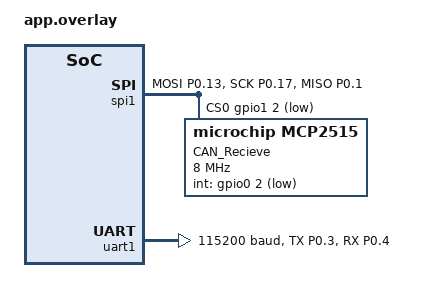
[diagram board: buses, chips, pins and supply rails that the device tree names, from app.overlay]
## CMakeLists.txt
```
cmake_minimum_required(VERSION 3.20.0)
find_package(Zephyr REQUIRED HINTS $ENV{ZEPHYR_BASE})

project(motorkontroller)

target_sources(app PRIVATE src/main.c src/motorstyring.c src/canbus.c vesc_uart.c)
```

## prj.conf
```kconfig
CONFIG_STDOUT_CONSOLE=y
CONFIG_SERIAL=y
CONFIG_UART_CONSOLE=y
CONFIG_UART_ASYNC_API=y
CONFIG_GPIO=y
CONFIG_ADC=y
CONFIG_CAN=y
CONFIG_CAN_MCP2515=y
CONFIG_SPI=y
CONFIG_CONSOLE=y
CONFIG_NEWLIB_LIBC=y
CONFIG_NEWLIB_LIBC_FLOAT_PRINTF=y
```

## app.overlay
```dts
// PWM relatert kode er skrevet av Erik-Andre Hegna
// CANBUS relatert kode er skrevet av Ola Andrup, og er dekt i stor grad i hans del i rapporten.

// Dette er en enhetstre overlay fil. Den brukes for å definere hardware-konfigurasjonen
// til kernelen under "runtime".

&spi1 {
	status = "okay";
	pinctrl-0 = <&spi1_default>;
	pinctrl-names = "default";
	cs-gpios = <&gpio1 2 GPIO_ACTIVE_LOW>;
	mcp2515_can: mcp2515@0 {
		compatible = "microchip,mcp2515";
        spi-max-frequency = <8000000>;
        int-gpios = <&gpio0 2 GPIO_ACTIVE_LOW>;
        status = "okay";
		label = "CAN_Recieve";
		reg = <0x0>;
		osc-freq = <16000000>;
		bus-speed = <125000>;
		sjw = <1>;
		prop-seg = <2>;
		phase-seg1 = <7>;
		phase-seg2 = <6>;
		#address-cells = <1>;
		#size-cells = <0>;

	};

};

//(RAS) legger til UART1 for VESC motorstyring
&uart1 {
    status = "okay";
    current-speed = <115200>;
    pinctrl-0 = <&uart1_default>;
    pinctrl-names = "default";
};

// pinCtrl seksjonen definerer pin konfigurasjonen for de ulike periferene.
// pwmX_default_alt og pwmX_sleep_alt  er ulik konfigurasjoner eller moduser pinen kan ha.
// Den kan enten sove eller være aktiv. 

// For å vite hvilke GPIO port-nummer og PIN nummer i hver GPIO port som tilhører de ulike pinnene
// på microbiten sitt GPIO-brett er tabellen på denne nettsiden brukt:
// https://tech.microbit.org/hardware/edgeconnector/

&pinctrl {
    spi1_default: spi1_default {
		group1 {
			psels = <NRF_PSEL(SPIM_MOSI, 0, 13)>,
					<NRF_PSEL(SPIM_SCK, 0, 17)>,
					<NRF_PSEL(SPIM_MISO, 0, 1)>;
		};
	};
   
    //(ras)
    uart1_default: uart1_default {
        group1 {
            psels = <NRF_PSEL(UART_TX, 0, 3)>, //TX = P3
                    <NRF_PSEL(UART_RX, 0, 4)>; //RX = P4
        };
    };
 };

 //Velger MCP2515 som can-bus for zephyr (fenris2024)
 / {
    chosen {
        zephyr,canbus = &mcp2515_can;
    };
 };
```

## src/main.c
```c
#include <zephyr/kernel.h>
#include <zephyr/drivers/uart.h>
#include <stdio.h>
#include "vesc_uart.h"

int main(void) {
    uart_init();

    const struct device *uart = get_uart_dev();
    if (!uart || !device_is_ready(uart)) {
        printf("UART-enhet ikke klar.\n");
        return -1;
    }

    printf("Starter VESC RPM-kontrollloop...\n");

    while (1) {
        // Send 1500 RPM i 5 sekunder
        printf("Setter RPM til 1500 i 5 sekunder\n");
        for (int i = 0; i < 50; i++) {  // 50 * 100ms = 5 sekunder
            send_set_rpm(5000);
            k_msleep(100);
        }

        // Stopp (RPM = 0) i 2 sekunder
        printf("Stopper motor i 2 sekunder\n");
        for (int i = 0; i < 20; i++) {  // 20 * 100ms = 2 sekunder
            send_set_rpm(0);
            k_msleep(100);
        }
    }

    return 0;
}
```

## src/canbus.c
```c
#define M_PI 3.14159265358979323846
#include <math.h>
#include <stdio.h>
#include <zephyr/sys/byteorder.h>
#include <zephyr/kernel.h>
#include <zephyr/drivers/can.h>
#include <zephyr/drivers/spi.h>
#include <zephyr/drivers/gpio.h>
#include <zephyr/device.h>
#include <stdbool.h>
#include <string.h>

#include "canbus.h"
#include "motorstyring.h"

// Global variabel for siste tidspunkt vi mottok en melding
static int64_t siste_mottatt_tid = 0;

// Meldingskø for CAN-data
K_MSGQ_DEFINE(can_msgq, sizeof(struct can_ret_data), CAN_MSGQ_SIZE, 4);

// Hent CAN-enhet fra devicetree
const struct device *const get_can_dev(void) {
    return DEVICE_DT_GET(DT_CHOSEN(zephyr_canbus));
}

// Initialiserer og starter CAN
void canBegin(const struct device *can_dev) {
    if (!can_dev) {
        printf("Fant ikke CAN-enhet!\n");
        return;
    }

    int ret = can_start(can_dev);
    if (ret != 0) {
        printf("Feil ved oppstart av CAN: %d\n", ret);
        return;
    }

    if (setup_can_filter(can_dev, can_rx_callback, NULL) < 0) {
        printf("Feil: klarte ikke å legge til CAN-filter\n");
        return;
    }

    printf("CAN er startet og filter er satt opp\n");
}

// Returner CAN-state som tekst
const char* can_state_to_str(enum can_state state) {
    switch (state) {
        case CAN_STATE_ERROR_ACTIVE: return "ERROR ACTIVE";
        case CAN_STATE_ERROR_WARNING: return "ERROR WARNING";
        case CAN_STATE_ERROR_PASSIVE: return "ERROR PASSIVE";
        case CAN_STATE_BUS_OFF: return "BUS OFF";
        case CAN_STATE_STOPPED: return "STOPPED";
        default: return "UKJENT";
    }
}

// Skriv ut CAN status
void canState(const struct device *can_dev) {
    enum can_state state;
    struct can_bus_err_cnt err_cnt;

    if (can_get_state(can_dev, &state, &err_cnt) != 0) {
        printf("Kunne ikke hente CAN-status\n");
    } else {
        printf("CAN-status: %s\n", can_state_to_str(state));
        printf("TX-feil: %d, RX-feil: %d\n", err_cnt.tx_err_cnt, err_cnt.rx_err_cnt);
    }
}

// Oppsett av CAN-filter
int setup_can_filter(const struct device *dev, can_rx_callback_t rx_cb, void *cb_data) {
    struct can_filter filter = {
        .flags = CAN_FILTER_DATA | CAN_FILTER_IDE,
        .id = RECEIVE_ID,
        .mask = CAN_EXT_ID_MASK
    };
    return can_add_rx_filter(dev, rx_cb, cb_data, &filter);
}

// Callback når en CAN-melding mottas
void can_rx_callback(const struct device *dev, struct can_frame *frame, void *user_data) {
    // Sjekk at vi faktisk fikk 8 byte som forventet
    if (frame->id == RECEIVE_ID && frame->dlc == 8) {

        siste_mottatt_tid = k_uptime_get();
        //sett_nødstopp(false);  

        // Debug: print rå data
        printf("RÅ CAN-data (hex): ");
        for (int i = 0; i < frame->dlc; i++) {
            printf("%02X ", frame->data[i]);
        }
        printf("\n");

        // Lese inn 4x int16_t fra frame->data, liten endian
        int16_t fart_i      = sys_le16_to_cpu(*(int16_t *)&frame->data[0]);
        int16_t vinkel_i    = sys_le16_to_cpu(*(int16_t *)&frame->data[2]);
        int16_t rotasjon_i  = sys_le16_to_cpu(*(int16_t *)&frame->data[4]);
        int16_t sving_js_i  = sys_le16_to_cpu(*(int16_t *)&frame->data[6]);

        float fart      = fart_i / 100.0f;
        float vinkel    = vinkel_i / 100.0f;
        float rotasjon  = rotasjon_i / 100.0f;
        float sving_js  = sving_js_i / 100.0f;

        printf(".\n");
        printf(".\n");
        printf(".\n");
        printf("[PI → Motor-MB] Mottatt:\n");
        printf("  Fart      : %.2f\n", fart);
        printf("  Vinkel    : %.2f°\n", (vinkel * 180.0f / (float)M_PI));
        printf("  Rotasjon  : %.2f\n", rotasjon);
        printf("  Sving JS  : %.2f\n", sving_js);
        printf("-----------------------------\n");
        printf(".\n");
        printf(".\n");
        printf(".\n");

        kontroller_motorene(fart, vinkel, rotasjon); // legg evt. til sving_js

    } else {
        printf("CAN frame ignorert: ID 0x%X, DLC %d\n", frame->id, frame->dlc);
    }
}

// Henter melding fra køen og styrer motorene
void process_can_data(void) {
    struct can_ret_data data;
    if (k_msgq_get(&can_msgq, &data, K_NO_WAIT) == 0) {
        kontroller_motorene(data.fart, data.vinkel, data.rotasjon);
    }

    // Sjekk om det er lenge siden siste melding → aktiver nødstopp
    //int64_t nåtid = k_uptime_get();
    //if ((nåtid - siste_mottatt_tid) > 1000) {
        //if (!er_nødstopp_aktivert()) {
            //printf("Advarsel: Ingen meldinger på over 1 sekund → nødstopp aktivert\n");
            //sett_nødstopp(true);
        //}
    //}
}

// Send en streng over CAN (brukes til testing)
void send_string(const struct device *can_dev, const char *str) {
    struct can_frame frame;
    memset(&frame, 0, sizeof(frame));
    frame.flags = CAN_FRAME_IDE;
    frame.id = MSG_ID;
    frame.dlc = strlen(str);
    memcpy(frame.data, str, frame.dlc);

    if (can_send(can_dev, &frame, K_MSEC(100), NULL, NULL) != 0) {
        printf("Feil: Klarte ikke å sende melding på CAN\n");
    }
}
```

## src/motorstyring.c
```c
#include "motorstyring.h"
#include "vesc_uart.h"
#include <math.h> //for å få tilgang til mattefunksjoner
#ifndef M_PI //for å definere pi så vi kan bruke til vinkelberegning (er ikke definert i math.h)
#define M_PI 3.14159265358979323846
#endif
#include <stdio.h> // for å bruke printf og skrive ut
#include <stdlib.h> // for tilgang til minnehåndtering
#include <stdbool.h>
#define MOTOR_ID_FRONT_LEFT 0
#define MOTOR_ID_FRONT_RIGHT 1
#define MOTOR_ID_REAR_LEFT 2
#define MOTOR_ID_REAR_RIGHT 3

//Global flagg for nødstopp - under arbeid
//static bool nødstopp = false;

//void sett_nødstopp(bool aktivert) {
    //nødstopp = aktivert;

    //if (aktivert) {
        //printf("nødstopp aktivert! alle motor stoppes.\n");
        //for (int i = 0; i < 4; ++i) {
            //send_duty_uart_motor(i, 0.0f);
        //}

   // } else {
        //printf("Nødstopp deaktivert. Motorer aktive igjen.\n");
   // }

//}


//bool er_nødstopp_aktivert(){
    //return nødstopp;
//}


//funksjon som beregn motorverdier fra fart, vinkel og rotasjon. regner ut hvor mye hver av de 4 motorene skal kjøre.
//basert på fart(hvor fort vi vil kjøre fra 0 til 1), 
//vinkel(hvilken retning vi vil kjøre. for eks 0 er fremover og pi/2 er til venstre),
//rotasjon(rotasjon av hele bilen, positiv=høyre og negativ=venstre)

 struct MotorVerdier kalkulerMotorVerdier(float fart, float vinkel, float rotasjon) {
    float x = fart * cosf(vinkel); //her regner vi fart og vinkel om til x kordinater
    float y = fart * sinf(vinkel); //her regner vi fart og vinkel om til y kordinater

    float justert_rotasjon = rotasjon * fart; //gir dynamisk rotasjon

    float front_left = y + x + justert_rotasjon; //regner ut hvor mye hver motor må bidra for at hele bilen skal bevege seg riktig. 
    float front_right = y - x - justert_rotasjon; //mecanum hjulene kombinerer for å få dette til.
    float rear_left =  y - x + justert_rotasjon;
    float rear_right = y + x - justert_rotasjon;

    printf("beregnet motorverdier: front_left = %.2f, front_right = %.2f, rear_left = %.2f, rear_right = %.2f\n", front_left, front_right, rear_left, rear_right); //skriver ut det som har blitt beregnet, viktig info når man feilsøker.
   
    //hvis en av verdiene er større enn 1.0 deler vi alle på den største verdien, så de skaleres ned til mellom -1 og 1. dette er kalt normalisering.
    float max_val = fmaxf(fmaxf(fabsf(front_left), fabsf(front_right)), fmaxf(fabsf(rear_left), fabsf(rear_right)));

    if (max_val > 1.0f) {
        printf("Normaliserer motorverdier. Max verdi før: %.2f\n", max_val);
        front_left /= max_val;
        front_right /= max_val;
        rear_left /= max_val;
        rear_right /= max_val;
    }

    //sjekker kraft - feilsøkinger
    float gjennomsnitt = (fabsf(front_left) + fabsf(front_right) + fabs(rear_left) + fabs(rear_right)) / 4.0f;

    if (fabs(front_left) > gjennomsnitt * 1.5f)
        printf("Advarsel: front_left motor bruker mer kraft enn snittet\n");
    
    if (fabs(front_right) > gjennomsnitt * 1.5f)
        printf("Advarsel: front_right motor bruker mer kraft enn snittet\n");
    
    if (fabs(rear_left) > gjennomsnitt * 1.5f)
        printf("Advarsel: rear_left motor bruker mer kraft enn snittet\n");

    if (fabs(rear_right) > gjennomsnitt * 1.5f)
        printf("Advarsel: rear_right motor bruker mer kraft enn snittet\n");
    
    if (fabs(front_left) < 0.05f && gjennomsnitt > 0.2f)
        printf("Advarsel: front_left motor bidrar lite mens de andre jobber\n");
    
    if (fabs(front_right) < 0.05f && gjennomsnitt > 0.2f)
        printf("Advarsel: front_right motor bidrar lite mens de andre jobber\n");

    if (fabs(rear_left) < 0.05f && gjennomsnitt > 0.2f)
        printf("Advarsel: rear_left motor bidrar lite mens de andre jobber\n");
    
    if (fabs(rear_right) < 0.05f && gjennomsnitt > 0.2f)
        printf("Advarsel: rear_right motor bidrar lite mens de andre jobber\n");


    struct MotorVerdier motorVerdier = {front_left, front_right, rear_left, rear_right}; // struct med 4 motorverdiene og returnerer den.
    return motorVerdier;

}


 static float gjeldende_fart = 0.0f;
 static float gjeldende_vinkel = 0.0f;
 static float gjeldende_rotasjon = 0.0f;
 static const float endring_per_steg = 0.05f;

//Hovedfunksjonen som konverterer bevegelse til PWM-signal, denne blir kalt når motorene skal kjøre.


int kontroller_motorene(float ønsket_fart, float ønsket_vinkel, float ønsket_rotasjon) {
    printf("kontrollerer motorene. Fart: %.2f, Vinkel: %.2f, rotasjon: %.2f\n", ønsket_fart, ønsket_vinkel, ønsket_rotasjon); //printer ut hvilke kommandoer vi har fått

    //if (nødstopp) {
        //printf("Nødstopp aktiv - motorstyring stoppes.\n");
        //return -1;
    //}

    if (!isfinite(ønsket_fart) || !isfinite(ønsket_vinkel) || !isfinite(ønsket_rotasjon)) {
        printf("Feil: en eller flere inputverdier er uendelige (inf) eller NaN\n");
        return -1;
    }

    //sjekker om at vinklene som kommer inn ikke er rare. Vinkelen bør være mellom -pi og pi.
    if (ønsket_vinkel < -M_PI || ønsket_vinkel > M_PI) {
        printf("Vinkelen som kom inn er utenfor forventet område: %.2f rad\n", ønsket_vinkel);
    }

    if (ønsket_fart < 0.0f || ønsket_fart > 1.0f) {
        printf("Advarsel: Fart utenfor gyldig område (0.0-1.0): %.2f\n", ønsket_fart);
    }

    if (ønsket_rotasjon < -1.0f || ønsket_rotasjon > 1.0f) {
        printf("Advarsel: Rotasjon utenfor gyldig område (-1.0 - 1.0): %.2f\n", ønsket_rotasjon);

    }

    //Rotasjonssjekk - unngå overdominans av rotasjon

    if (fabs(ønsket_rotasjon) > ønsket_fart * 2.0f && ønsket_fart > 0.1f) {
        printf("Advarsel: Rotasjon dominerer over fart, det kan gi spin eller ubalanse\n");
    }

    // Jevn_sving: Oppdater fart, rotasjon og vinkel
    if (gjeldende_fart < ønsket_fart) {
        gjeldende_fart += endring_per_steg;
        if (gjeldende_fart > ønsket_fart) gjeldende_fart = ønsket_fart;
     } else if (gjeldende_fart > ønsket_fart) {
        gjeldende_fart -= endring_per_steg;
        if (gjeldende_fart < ønsket_fart) gjeldende_fart = ønsket_fart;
    }

    if (gjeldende_vinkel < ønsket_vinkel) {
        gjeldende_vinkel += endring_per_steg;
        if (gjeldende_vinkel > ønsket_vinkel) gjeldende_vinkel = ønsket_vinkel;
    } else if (gjeldende_vinkel > ønsket_vinkel) {
        gjeldende_vinkel -= endring_per_steg;
        if (gjeldende_vinkel < ønsket_vinkel) gjeldende_vinkel = ønsket_vinkel;
    }
    
    if (gjeldende_rotasjon < ønsket_rotasjon) {
        gjeldende_rotasjon += endring_per_steg;
        if (gjeldende_rotasjon > ønsket_rotasjon) gjeldende_rotasjon = ønsket_rotasjon;
    } else if ( gjeldende_rotasjon > ønsket_rotasjon) {
        gjeldende_rotasjon -= endring_per_steg;
        if (gjeldende_rotasjon < ønsket_rotasjon) gjeldende_rotasjon = ønsket_rotasjon;
    }

    //jevn stopp, når fart og rotasjon går mot null
    if (ønsket_fart < 0.01f && fabsf(ønsket_rotasjon) < 0.01f && (gjeldende_fart > 0.0f || fabsf(gjeldende_rotasjon) > 0.0f)) {
        printf("Ønsket fart og rotasjon går mot null, bremser jevnt\n");
        ønsket_fart = 0.0f;
        ønsket_rotasjon = 0.0f;
        gjeldende_vinkel = gjeldende_vinkel; //vinkelen beholdes under brems
    }

    // stopp motorene helt hvis alt er 0

    if (gjeldende_fart < 0.01f && fabsf(gjeldende_rotasjon) < 0.01f) { // Hvis det er ingen bevegelse eller rotasjon så skal motorene stoppes.
        printf("Motorene står stille. Fart: %.2f, rotasjon: %.2f\n", gjeldende_fart, gjeldende_rotasjon);
        float stopp[4] = {0.0f, 0.0f, 0.0f, 0.0f};
        send_duty_uart_alle_motor(stopp);
        return 0;   
        }

    printf("motorene beveger seg jevnt. Fart: %.2f, vinkel: %.2f, rotasjon: %.2f\n", gjeldende_fart, gjeldende_vinkel, gjeldende_rotasjon);

    struct MotorVerdier motorVerdier = kalkulerMotorVerdier(gjeldende_fart, gjeldende_vinkel, gjeldende_rotasjon); //kalkulerer hva alle 4 motorene skal gjøre basert på fart,vinkel og rotasjon.
    float motorer[4] = { //legger verdiene i en array så samme gjøres for hver motor
        motorVerdier.front_left,
        motorVerdier.front_right,
        motorVerdier.rear_left,
        motorVerdier.rear_right

    };

    send_duty_uart_alle_motor(motorer);
    return 0;
}

        



//TODO under testing: -Prøve dynamisk endring_per_steg, -legg til toleranse på små forskjeller, -juster svingrespons
```

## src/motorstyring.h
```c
#ifndef MOTORSTYRING_H
#define MOTORSTYRING_H
#include <stdbool.h>


struct MotorVerdier {
    float front_left;
    float front_right;
    float rear_left;
    float rear_right;
};

struct MotorVerdier kalkulerMotorVerdier(float fart, float vinkel, float rotasjon);
int kontroller_motorene(float fart, float vinkel, float rotasjon);
//void sett_nødstopp(bool aktivert);

//bool er_nødstopp_aktivert();


#endif //MOTORSTYRING_H
```

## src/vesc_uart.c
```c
// vesc_uart.c
// Enkel VESC UART‑protokoll for å sette duty‑cycle på VESC via COMM_SET_DUTY

#include "vesc_uart.h"
#include <zephyr/drivers/uart.h>
#include <zephyr/kernel.h>
#include <zephyr/device.h>
#include <zephyr/devicetree.h>
#include <stdio.h>
#include <string.h>
#include <stdint.h>

#define UART_NODE_LABEL    DT_NODELABEL(uart1)
#define VESC_STX_SHORT     0x02    // Startbyte for korte pakker
#define VESC_ETX           0x03    // Sluttbyte
#define VESC_CMD_SET_DUTY  5       // Kommando‑ID for COMM_SET_DUTY
#define VESC_CMD_SET_RPM   5       // Kommando‑ID for COMM_SET_RPM
#define VESC_CMD_GET_VALUES 4

#include <zephyr/drivers/pwm.h>
const struct device *speaker_dev;

static const struct device *uart_dev = NULL;

/**
 * compute_crc16() - Beregn CRC16‑ARC over en byte‑array
 * @data: peker til data
 * @len:  lengde på data i bytes
 *
 * Returnerer 16‑bits CRC.
 */
static uint16_t compute_crc16(const uint8_t *data, size_t len)
{
    uint16_t crc = 0;
    for (size_t i = 0; i < len; i++) {
        crc ^= (uint16_t)data[i] << 8;
        for (int bit = 0; bit < 8; bit++) {
            if (crc & 0x8000) {
                crc = (crc << 1) ^ 0x1021;
            } else {
                crc <<= 1;
            }
        }
    }
    return crc;
}

/**
 * uart_init() - Henter og sjekker at UART1 finnes
 */
void uart_init(void)
{
    uart_dev = DEVICE_DT_GET(UART_NODE_LABEL);
    if (!device_is_ready(uart_dev)) {
        printf("ERROR: UART1 device not ready\n");
    } else {
        printf("UART1 initialized: %s\n", uart_dev->name);
    }
}

/**
 * send_set_duty() - Sender COMM_SET_DUTY‑pakke med duty [-1.0 .. 1.0]
 * @duty: ønsket duty cycle, clamped til [-1, +1]
 */
void send_set_duty(float duty)
{
    if (!uart_dev) {
        printf("ERROR: UART not initialized\n");
        return;
    }

    // Klamp duty-verdien
    if (duty < -1.0f) duty = -1.0f;
    if (duty >  1.0f) duty =  1.0f;

    // Bygg payload: [kommando‑byte, 4 byte float]
    uint8_t payload[1 + sizeof(float)];
    payload[0] = VESC_CMD_SET_DUTY;
    memcpy(&payload[1], &duty, sizeof(float));

    // Beregn CRC over payload
    uint16_t crc = compute_crc16(payload, sizeof(payload));

    // Bygg hele UART‑rammen: STX | LEN | payload | CRC_H | CRC_L | ETX
    uint8_t frame[2 + sizeof(payload) + 2 + 1];
    size_t idx = 0;
    frame[idx++] = VESC_STX_SHORT;        // Startbyte
    frame[idx++] = (uint8_t)sizeof(payload); // Payload‑lengde
    memcpy(&frame[idx], payload, sizeof(payload));
    idx += sizeof(payload);
    frame[idx++] = (uint8_t)(crc >> 8);   // CRC MSB
    frame[idx++] = (uint8_t)(crc & 0xFF); // CRC LSB
    frame[idx++] = VESC_ETX;              // Endbyte

    // Send pakke byte for byte
    for (size_t i = 0; i < idx; i++) {
        uart_poll_out(uart_dev, frame[i]);
    }   
}

void send_set_rpm(int rpm)
{
    if (!uart_dev) {
        printf("ERROR: UART not initialized\n");
        return;
    }

    // Bygg payload: [kommando‑byte, 4 byte int32]
    uint8_t payload[1 + sizeof(int32_t)];
    payload[0] = VESC_CMD_SET_RPM;
    int32_t rpm_be = __builtin_bswap32(rpm);
    memcpy(&payload[1], &rpm_be, sizeof(int32_t));

    // Beregn CRC over payload
    uint16_t crc = compute_crc16(payload, sizeof(payload));

    // Bygg hele UART‑rammen: STX | LEN | payload | CRC_H | CRC_L | ETX
    uint8_t frame[2 + sizeof(payload) + 2 + 1];
    size_t idx = 0;
    frame[idx++] = VESC_STX_SHORT;        // Startbyte
    frame[idx++] = (uint8_t)sizeof(payload); // Payload‑lengde
    memcpy(&frame[idx], payload, sizeof(payload));
    idx += sizeof(payload);
    frame[idx++] = (uint8_t)(crc >> 8);   // CRC MSB
    frame[idx++] = (uint8_t)(crc & 0xFF); // CRC LSB
    frame[idx++] = VESC_ETX;              // Endbyte

    // Send pakke byte for byte
    for (size_t i = 0; i < idx; i++) {
        uart_poll_out(uart_dev, frame[i]);
        k_busy_wait(100);  // Wait 100us between bytes
    }

    printf("RPM-pakke sendt: %d RPM\n", rpm);
}

void uart_rx_debug(void)
{
    printf("Starter UART RX-debug. Leser innkommende bytes:\n");

    while (1) {
        uint8_t byte;
        int ret = uart_poll_in(uart_dev, &byte);

        if (ret == 0) {
            printf("Mottatt byte: 0x%02X (%c)\n", byte, byte >= 32 && byte <= 126 ? byte : '.');
            if (ret == 0) {
                printf("Mottatt byte: 0x%02X (%c)\n", byte, byte >= 32 && byte <= 126 ? byte : '.');
            
                if (device_is_ready(speaker_dev)) {
                    pwm_set_cycles(speaker_dev, 0, 5000, 2500, 0);  // 1000 Hz, 50%
                    k_msleep(100);
                    pwm_set_cycles(speaker_dev, 0, 5000, 0, 0);     // stopp
                } else {
                    printf("Speaker not ready!\n");
                }
            }
        } else {
            k_msleep(10);  // Ikke blokker CPU
        }
    }    
}

void request_vesc_values(void)
{
    if (!uart_dev) {
        printf("ERROR: UART not initialized\n");
        return;
    }

    uint8_t payload[1];
    payload[0] = VESC_CMD_GET_VALUES;

    uint16_t crc = compute_crc16(payload, sizeof(payload));

    uint8_t frame[6];
    size_t idx = 0;
    frame[idx++] = VESC_STX_SHORT;         // Start
    frame[idx++] = sizeof(payload);        // Length
    frame[idx++] = payload[0];             // Command
    frame[idx++] = (uint8_t)(crc >> 8);    // CRC High
    frame[idx++] = (uint8_t)(crc & 0xFF);  // CRC Low
    frame[idx++] = VESC_ETX;               // End

    printf("Sender COMM_GET_VALUES-forespørsel...\n");
    for (size_t i = 0; i < idx; i++) {
        uart_poll_out(uart_dev, frame[i]);
    }
}

void speaker_init(void) {
    speaker_dev = DEVICE_DT_GET(DT_ALIAS(pwm_speaker));
    if (!device_is_ready(speaker_dev)) {
        printf("Speaker not ready!\n");
    } else {
        printf("Speaker ready: %s\n", speaker_dev->name);
    }
}

// Legg til i vesc_uart.c
const struct device *get_uart_dev(void) {
    return uart_dev;
}
```

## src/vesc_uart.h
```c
#ifndef VESC_UART_H
#define VESC_UART_H

void uart_init(void);
void send_set_duty(float duty);
void send_set_rpm(int rpm);  // <-- NY!
void uart_rx_debug(void);
void request_vesc_values(void);
// Legg til i vesc_uart.h
const struct device *get_uart_dev(void);


#endif // VESC_UART_H
```
